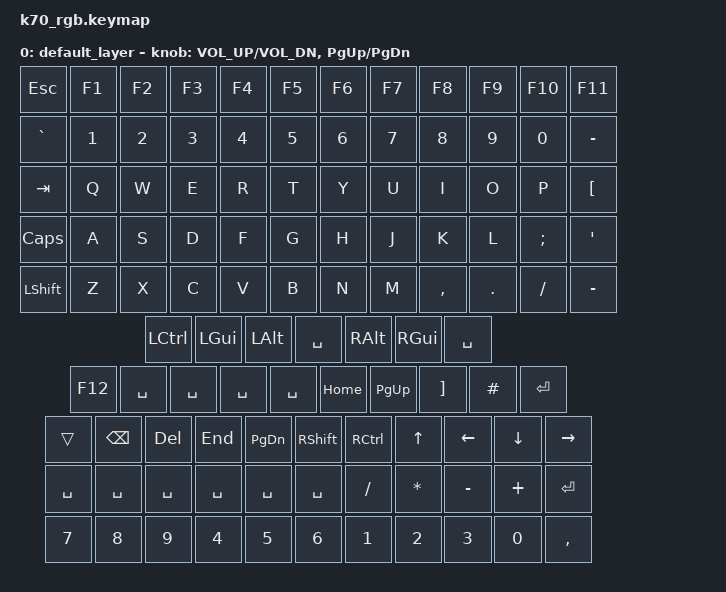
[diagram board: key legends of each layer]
#include <behaviors.dtsi>
#include <dt-bindings/zmk/keys.h>

/ {
	keymap {
		compatible = "zmk,keymap";
		
		default_layer {
			bindings = <
			&kp ESC  &kp F1  &kp F2  &kp F3  &kp F4  &kp F5  &kp F6  &kp F7  &kp F8  &kp F9  &kp F10  &kp F11  
			&kp GRAVE  &kp N1  &kp N2  &kp N3  &kp N4  &kp N5  &kp N6  &kp N7  &kp N8  &kp N9  &kp N0  &kp MINUS  
			&kp TAB  &kp Q  &kp W  &kp E  &kp R  &kp T  &kp Y  &kp U  &kp I  &kp O  &kp P  &kp LBKT  
			&kp CAPS  &kp A  &kp S  &kp D  &kp F  &kp G  &kp H  &kp J  &kp K  &kp L  &kp SEMI  &kp APOS  
			&kp LSHFT  &kp Z  &kp X  &kp C  &kp V  &kp B  &kp N  &kp M  &kp COMMA  &kp DOT  &kp FSLH  &kp MINUS  
			&kp LCTRL  &kp LGUI  &kp LALT  &kp SPACE  &kp RALT  &kp RGUI  &kp SPACE  
			&kp F12  &kp SPACE  &kp SPACE  &kp SPACE  &kp SPACE  &kp HOME  &kp PG_UP  &kp RBKT  &kp POUND  &kp ENTER  
			&trans  &kp BSPC  &kp DEL  &kp END  &kp PG_DN  &kp RSHFT  &kp RCTRL  &kp UP  &kp LEFT  &kp DOWN  &kp RIGHT  
			&kp SPACE  &kp SPACE  &kp SPACE  &kp SPACE  &kp SPACE  &kp SPACE  &kp FSLH  &kp STAR  &kp MINUS  &kp PLUS  &kp RET  
			&kp N7  &kp N8  &kp N9  &kp N4  &kp N5  &kp N6  &kp N1  &kp N2  &kp N3  &kp N0  &kp COMMA
			>;

			sensor-bindings = <&inc_dec_kp C_VOL_UP C_VOL_DN &inc_dec_kp PG_UP PG_DN>;
		};
	};
};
